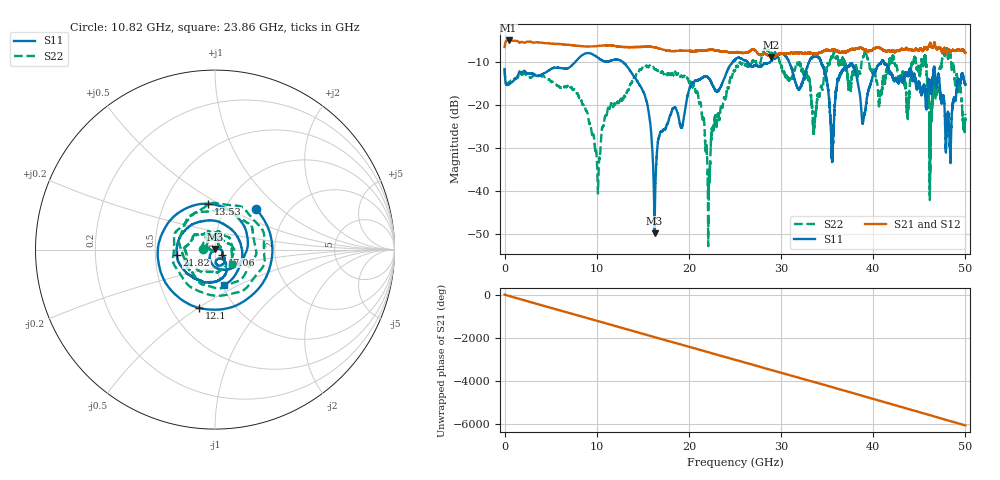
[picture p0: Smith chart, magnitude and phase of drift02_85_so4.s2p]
!Created with skrf (http://scikit-rf.org).
# Hz S RI R 50.0
!freq ReS11 ImS11 ReS21 ImS21 ReS12 ImS12 ReS22 ImS22
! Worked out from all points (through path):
!   10001 points, 300 kHz to 50 GHz, reference 50 ohm
!   highest |S21| = -5.04 dB at 430.3 MHz (marker M1); lowest = -8.9 dB at 28.95 GHz (marker M2)
!   group delay of S21, straight-line fit = 336 ps
!   lowest |S11| = -49.7 dB at 16.27 GHz (marker M3), VSWR 1.01, Z = 49.9 + j0.301 ohm
!   |S11| at or under -10 dB: start of sweep to 7.669 GHz; 12.82 GHz to 24.78 GHz (11.96 GHz wide, 63.6 % of centre); 41.14 GHz to end of sweep (the widest 3 of 11)
!   |S22| runs from -52.7 to -6.6 dB; largest |S21 - S12| = 0.03
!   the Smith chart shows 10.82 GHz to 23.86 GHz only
!   S11 on the Smith chart (normalised r, x): 10.82 GHz: 1.39, +0.70; 12.1 GHz: 0.69, -0.50; 13.53 GHz: 0.81, +0.45; 17.06 GHz: 1.08, -0.06; 21.82 GHz: 0.65, -0.04; 23.86 GHz: 1.01, -0.42
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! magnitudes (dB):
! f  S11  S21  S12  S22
! 300 kHz  -11.7  -6.5  -6.5  -11.7
! 430.3 MHz  -15.2  -5.0  -5.0  -14.8
! 8.335 GHz  -8.6  -6.4  -6.4  -19.0
! 10.1 GHz  -9.0  -6.3  -6.3  -38.9
! 10.82 GHz  -9.9  -6.2  -6.2  -23.6
! 12.1 GHz  -9.5  -6.4  -6.4  -20.4
! 13.53 GHz  -11.8  -6.6  -6.6  -15.9
! 16.27 GHz  -49.7  -6.6  -6.6  -11.7
! 16.67 GHz  -28.0  -6.8  -6.8  -12.1
! 17.06 GHz  -26.1  -7.1  -7.1  -12.3
! 21.82 GHz  -13.3  -7.3  -7.3  -30.4
! 23.86 GHz  -13.8  -7.6  -7.6  -18.3
! 25 GHz  -9.6  -7.9  -7.8  -12.0
! 28.95 GHz  -9.8  -8.9  -8.9  -8.0
! 33.34 GHz  -9.1  -8.0  -8.0  -20.2
! 35.55 GHz  -32.3  -7.2  -7.2  -9.0
! 36.8 GHz  -11.8  -7.8  -7.7  -10.0
! 41.67 GHz  -11.9  -7.4  -7.5  -12.2
! 45.5 GHz  -15.3  -6.9  -6.9  -9.6
! 46.27 GHz  -16.9  -6.2  -6.3  -22.4
! 48.12 GHz  -21.9  -7.1  -7.1  -9.1
! 50 GHz  -15.3  -7.9  -7.8  -22.3
